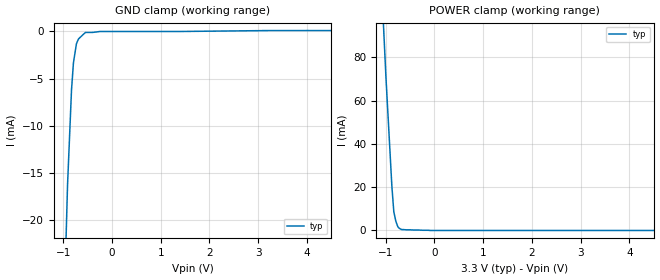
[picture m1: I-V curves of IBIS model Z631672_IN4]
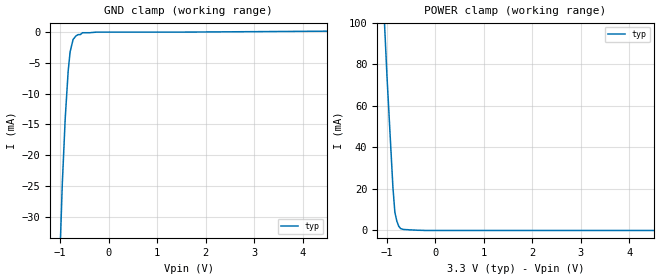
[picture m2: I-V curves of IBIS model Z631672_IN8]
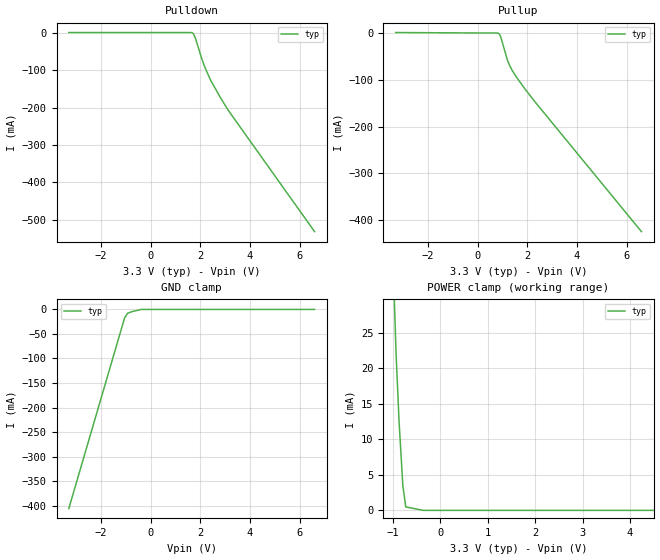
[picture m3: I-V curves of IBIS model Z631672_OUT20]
| YOU ARE ONLY AUTHORIZED TO USE THIS SOFTWARE
| ACCORDING TO LICENSOR'S LICENSE RESTRICTIONS.
[IBIS Ver] 3.1
[File Name] mc100lve222fa_33.ibs
[File Rev] 2.0
[Source] Measured and created by ICX Technology
[Date] Wednesday 11/22/00 2:13:51 PM
[Copyright]
| (C) COPYRIGHT 1993-2000
| MENTOR GRAPHICS CORPORATION
| ICX STANDARD LIBRARY, ICX PROJECT MODELING,
| ICX CUSTOM MODELING, ICX VENDOR MODEL
| ALL RIGHTS RESERVED.
| THE FOLLOWING ARE TRADEMARKS OR SERVICE MARKS OF
| MENTOR GRAPHICS CORPORATION:ICX (R), ICX STANDARD
| LIBRARY(R), ICX PROJECT MODELING(R), ICX CUSTOM
| MODELING(R), qualityIBIS(TM), MODELVIEWER(TM),
| AND MODELEDITOR(TM)
| ALL COPIES OF SOFTWARE, INCLUDING BUT NOT LIMITED TO
| ANY MODIFICATIONS, ENHANCEMENTS OR DERIVATIVE WORKS,
| MUST CONTAIN ALL MENTOR GRAPHICS CORPORATION'S
| NOTICES AND LEGENDS, INCLUDING THOSE EMBEDDED IN
| SOFTWARE AND THOSE AFFIXED TO SOFTWARE MEDIUM
| AND CONTAINER, AS RECEIVED FROM MENTOR GRAPHICS
| CORPORATION.
|  ZAP Model Builder 2.8
[Component] MC100LVE222FA_33
[Manufacturer] OnSemiconductor
[Package]
| variable   typ   min   max
R_pkg  .179ohms NA NA
L_pkg  4.118nH NA NA
C_pkg  .592pF NA NA
[Pin] signal_name  model_name  R_pin  L_pin C_pin
1 VCC POWER .185 4.54n .65p
2 MR Z631672_IN4 .181 4.27n .62p
3 FSELA Z631672_IN4 .18 4.17n .6p
4 FSELB Z631672_IN4 .178 4.04n .58p
5 CLK0 Z631672_IN8 .176 3.92n .56p
6 _CLK0 Z631672_IN8 .176 3.89n .56p
7 CLK_SEL Z631672_IN4 .175 3.88n .55p
8 CLK1 Z631672_IN8 .176 3.89n .56p
9 _CLK1 Z631672_IN8 .176 3.92n .56p
10 VBB POWER .178 4.04n .58p
11 FSELC Z631672_IN4 .18 4.17n .6p
12 FSELD Z631672_IN4 .181 4.27n .62p
13 VEE POWER .185 4.54n .65p
14 VCCO POWER .185 4.54n .65p
15 _QD5 Z631672_OUT45 .181 4.27n .62p
16 QD5 Z631672_OUT20 .18 4.17n .6p
17 _QD4 Z631672_OUT45 .178 4.04n .58p
18 QD4 Z631672_OUT20 .176 3.92n .56p
19 _QD3 Z631672_OUT45 .176 3.89n .56p
20 QD3 Z631672_OUT20 .175 3.88n .55p
21 _QD2 Z631672_OUT45 .176 3.89n .56p
22 QD2 Z631672_OUT20 .176 3.92n .56p
23 _QD1 Z631672_OUT45 .178 4.04n .58p
24 QD1 Z631672_OUT20 .18 4.17n .6p
25 _QD0 Z631672_OUT45 .181 4.27n .62p
26 QD0 Z631672_OUT20 .185 4.54n .65p
27 VCCO POWER .185 4.54n .65p
28 NC NC .181 4.27n .62p
29 NC NC .18 4.17n .6p
30 VCCO POWER .178 4.04n .58p
31 _QC3 Z631672_OUT45 .176 3.92n .56p
32 QC3 Z631672_OUT20 .176 3.89n .56p
33 _QC2 Z631672_OUT45 .175 3.88n .55p
34 QC2 Z631672_OUT20 .176 3.89n .56p
35 _QC1 Z631672_OUT45 .176 3.92n .56p
36 QC1 Z631672_OUT20 .178 4.04n .58p
37 _QC0 Z631672_OUT45 .18 4.17n .6p
38 QC0 Z631672_OUT20 .181 4.27n .62p
39 VCCO POWER .185 4.54n .65p
40 VCCO POWER .185 4.54n .65p
41 _QB2 Z631672_OUT45 .181 4.27n .62p
42 QB2 Z631672_OUT20 .18 4.17n .6p
43 _QB1 Z631672_OUT45 .178 4.04n .58p
44 QB1 Z631672_OUT20 .176 3.92n .56p
45 _QB0 Z631672_OUT45 .176 3.89n .56p
46 QB0 Z631672_OUT20 .175 3.88n .55p
47 VCCO POWER .176 3.89n .56p
48 _QA1 Z631672_OUT45 .176 3.92n .56p
49 QA1 Z631672_OUT20 .178 4.04n .58p
50 _QA0 Z631672_OUT45 .18 4.17n .6p
51 QA0 Z631672_OUT20 .181 4.27n .62p
52 VCCO POWER .185 4.54n .65p
[Diff Pin] inv_pin vdiff tdelay_typ tdelay_min tdelay_max
16 15 NA NA NA NA
18 17 NA NA NA NA
20 19 NA NA NA NA
22 21 NA NA NA NA
24 23 NA NA NA NA
26 25 NA NA NA NA
32 31 NA NA NA NA
34 33 NA NA NA NA
36 35 NA NA NA NA
38 37 NA NA NA NA
42 41 NA NA NA NA
44 43 NA NA NA NA
46 45 NA NA NA NA
49 48 NA NA NA NA
5 6 NA NA NA NA
51 50 NA NA NA NA
8 9 NA NA NA NA
| Models and submodels in the file (4): Z631672_IN4 (Input_ECL), Z631672_IN8 (Input_ECL), Z631672_OUT20 (Output_ECL), Z631672_OUT45 (Output_ECL)
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| (C) COPYRIGHT 1993-2000
| MENTOR GRAPHICS CORPORATION
| ICX STANDARD LIBRARY, ICX PROJECT MODELING,
| ICX CUSTOM MODELING, ICX VENDOR MODEL
| ALL RIGHTS RESERVED.
| THE FOLLOWING ARE TRADEMARKS OR SERVICE MARKS OF
| MENTOR GRAPHICS CORPORATION:ICX (R), ICX STANDARD
| LIBRARY(R), ICX PROJECT MODELING(R), ICX CUSTOM
| MODELING(R), qualityIBIS(TM), MODELVIEWER(TM),
| AND MODELEDITOR(TM)
| ALL COPIES OF SOFTWARE, INCLUDING BUT NOT LIMITED TO
| ANY MODIFICATIONS, ENHANCEMENTS OR DERIVATIVE WORKS,
| MUST CONTAIN ALL MENTOR GRAPHICS CORPORATION'S
| NOTICES AND LEGENDS, INCLUDING THOSE EMBEDDED IN
| SOFTWARE AND THOSE AFFIXED TO SOFTWARE MEDIUM
| AND CONTAINER, AS RECEIVED FROM MENTOR GRAPHICS
| CORPORATION.
| Model Application Version 1.89 2/18/99.
[Model] Z631672_IN4
Model_type Input_ECL
Vinl = 1.825V
Vinh = 2.135V
C_comp 3.000pF NA NA
| variable typ   min   max
[Voltage Range] 3.300V NA NA
[GND Clamp Reference] 0.000V NA NA
[POWER Clamp Reference] 3.300V NA NA
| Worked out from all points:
|   GND clamp passes 1 mA (typ) near -0.71 V on its own axis
|   POWER clamp passes 1 mA (typ) near -0.72 V on its own axis
[GND Clamp]
-3.3V     -560.3mA   NA         NA
-1.034V   -38.6mA    NA         NA
-912mV    -16.2mA    NA         NA
-831mV    -6.2mA     NA         NA
-791mV    -3.3mA     NA         NA
-730mV    -1.3mA     NA         NA
-689mV    -800uA     NA         NA
-542.2mV  -100uA     NA         NA
-248.3mV  0A         NA         NA
3.243V    100uA      NA         NA
6.6V      100uA      NA         NA
[POWER Clamp]
-3.3V     1.164A     NA         NA
-997mV    71mA       NA         NA
-875mV    20.5mA     NA         NA
-835mV    8.6mA      NA         NA
-795mV    4.4mA      NA         NA
-754mV    1.8mA      NA         NA
-693mV    600uA      NA         NA
-73mV     0A         NA         NA
6.6V      0A         NA         NA
| (C) COPYRIGHT 1993-2000
| MENTOR GRAPHICS CORPORATION
| ICX STANDARD LIBRARY, ICX PROJECT MODELING,
| ICX CUSTOM MODELING, ICX VENDOR MODEL
| ALL RIGHTS RESERVED.
| THE FOLLOWING ARE TRADEMARKS OR SERVICE MARKS OF
| MENTOR GRAPHICS CORPORATION:ICX (R), ICX STANDARD
| LIBRARY(R), ICX PROJECT MODELING(R), ICX CUSTOM
| MODELING(R), qualityIBIS(TM), MODELVIEWER(TM),
| AND MODELEDITOR(TM)
| ALL COPIES OF SOFTWARE, INCLUDING BUT NOT LIMITED TO
| ANY MODIFICATIONS, ENHANCEMENTS OR DERIVATIVE WORKS,
| MUST CONTAIN ALL MENTOR GRAPHICS CORPORATION'S
| NOTICES AND LEGENDS, INCLUDING THOSE EMBEDDED IN
| SOFTWARE AND THOSE AFFIXED TO SOFTWARE MEDIUM
| AND CONTAINER, AS RECEIVED FROM MENTOR GRAPHICS
| CORPORATION.
| Model Application Version 1.89 2/18/99.
[Model] Z631672_IN8
Model_type Input_ECL
Vinl = 1.825V
Vinh = 2.135V
C_comp 3.000pF NA NA
| variable typ   min   max
[Voltage Range] 3.300V NA NA
[GND Clamp Reference] 0.000V NA NA
[POWER Clamp Reference] 3.300V NA NA
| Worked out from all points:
|   GND clamp passes 1 mA (typ) near -0.71 V on its own axis
|   POWER clamp passes 1 mA (typ) near -0.72 V on its own axis
[GND Clamp]
-3.3V     -696.7mA   NA         NA
-1.095V   -58.9mA    NA         NA
-953mV    -24.8mA    NA         NA
-892mV    -14mA      NA         NA
-831mV    -6.3mA     NA         NA
-791mV    -3.2mA     NA         NA
-730mV    -1.2mA     NA         NA
-669mV    -600uA     NA         NA
-580.1mV  -400uA     NA         NA
-537mV    -100uA     NA         NA
6.6V      259.4uA    NA         NA
[POWER Clamp]
-3.3V     1.225A     NA         NA
-997mV    74.06mA    NA         NA
-875mV    20.76mA    NA         NA
-835mV    8.766mA    NA         NA
-795mV    4.568mA    NA         NA
-754mV    1.97mA     NA         NA
-713mV    872.2uA    NA         NA
-653mV    475.2uA    NA         NA
-205.3mV  0A         NA         NA
6.6V      0A         NA         NA
| (C) COPYRIGHT 1993-2000
| MENTOR GRAPHICS CORPORATION
| ICX STANDARD LIBRARY, ICX PROJECT MODELING,
| ICX CUSTOM MODELING, ICX VENDOR MODEL
| ALL RIGHTS RESERVED.
| THE FOLLOWING ARE TRADEMARKS OR SERVICE MARKS OF
| MENTOR GRAPHICS CORPORATION:ICX (R), ICX STANDARD
| LIBRARY(R), ICX PROJECT MODELING(R), ICX CUSTOM
| MODELING(R), qualityIBIS(TM), MODELVIEWER(TM),
| AND MODELEDITOR(TM)
| ALL COPIES OF SOFTWARE, INCLUDING BUT NOT LIMITED TO
| ANY MODIFICATIONS, ENHANCEMENTS OR DERIVATIVE WORKS,
| MUST CONTAIN ALL MENTOR GRAPHICS CORPORATION'S
| NOTICES AND LEGENDS, INCLUDING THOSE EMBEDDED IN
| SOFTWARE AND THOSE AFFIXED TO SOFTWARE MEDIUM
| AND CONTAINER, AS RECEIVED FROM MENTOR GRAPHICS
| CORPORATION.
| Model Application Version 1.89 2/18/99.
[Model] Z631672_OUT20
Model_type Output_ECL
Vref=1.300V
Rref=50.00ohms
Cref=0.000F
Vmeas=1.977V
C_comp 8.000pF NA NA
| variable typ   min   max
[Voltage Range] 3.300V NA NA
[POWER Clamp Reference] 3.300V NA NA
[Pullup Reference] 3.300V NA NA
[Pulldown Reference] 3.300V NA NA
[GND Clamp Reference] 0.000V NA NA
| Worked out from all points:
|   POWER clamp passes 1 mA (typ) near -0.74 V on its own axis
[GND Clamp]
-3.3V     -405.9mA   NA         NA
-1.054V   -17.45mA   NA         NA
-932mV    -7.802mA   NA         NA
-750mV    -4.443mA   NA         NA
-375mV    0A         NA         NA
6.6V      0A         NA         NA
[Pulldown]
-3.3V     0A         NA         NA
1.577V    0A         NA         NA
1.699V    -1.8mA     NA         NA
1.8V      -15mA      NA         NA
2.043V    -67.1mA    NA         NA
2.165V    -90.1mA    NA         NA
2.408V    -126.8mA   NA         NA
2.813V    -174.3mA   NA         NA
3.118V    -207.1mA   NA         NA
6.6V      -531.2mA   NA         NA
[Pullup]
-3.3V     926.1uA    NA         NA
852mV     -1.2mA     NA         NA
934mV     -8.9mA     NA         NA
1.197V    -57.2mA    NA         NA
1.298V    -70.5mA    NA         NA
1.541V    -92.5mA    NA         NA
1.886V    -118.1mA   NA         NA
2.311V    -147.1mA   NA         NA
6.6V      -424.5mA   NA         NA
[POWER Clamp]
-3.3V     859mA      NA         NA
-1.033V   42.4mA     NA         NA
-932mV    21.93mA    NA         NA
-871mV    12.65mA    NA         NA
-790mV    3.472mA    NA         NA
-729mV    488.6uA    NA         NA
-364.5mV  0A         NA         NA
6.6V      0A         NA         NA
[Ramp]
| variable typ min max
dV/dt_r 394.8m/321.4p NA NA
dV/dt_f 394.8m/251.9p NA NA
R_load = 50.00Ohms
